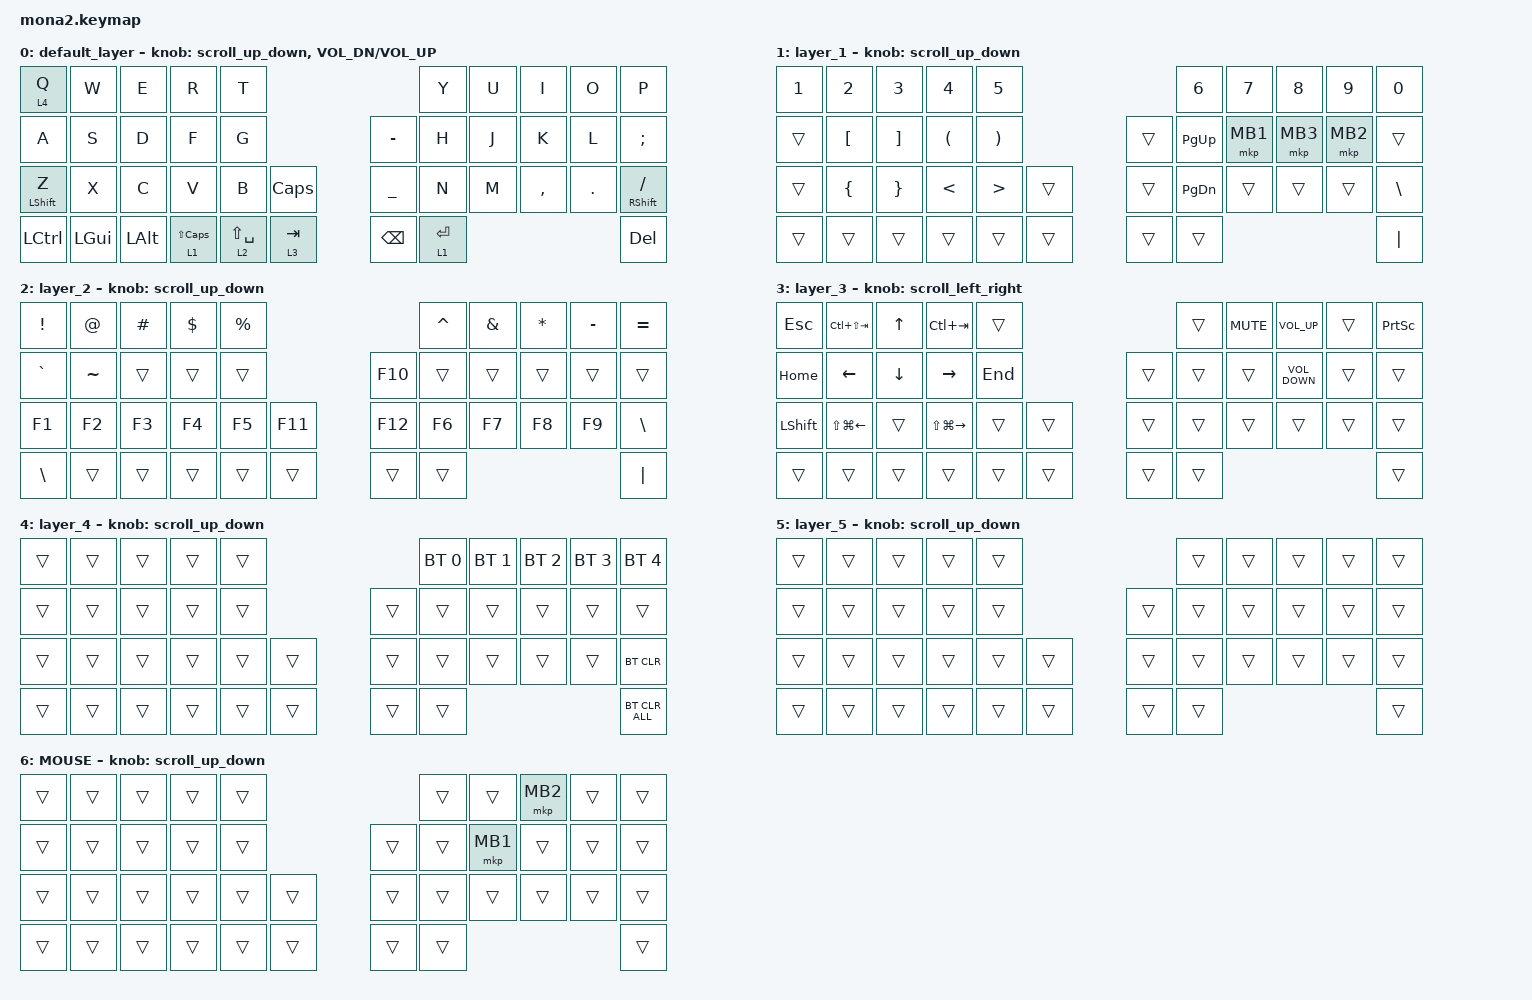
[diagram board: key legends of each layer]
#include <input/processors.dtsi>
#include <dt-bindings/zmk/input_transform.h>
#include <zephyr/dt-bindings/input/input-event-codes.h>
#include <behaviors.dtsi>
#include <dt-bindings/zmk/bt.h>
#include <dt-bindings/zmk/keys.h>
#include <dt-bindings/zmk/pointing.h>

#define ZMK_POINTING_DEFAULT_SCRL_VAL 100
#define MOUSE 6

//define SCROLL 3

&mt {
    flavor = "balanced";
    tapping-term-ms = <180>;
    quick-tap-ms = <100>;
};

&lt {
    flavor = "balanced";
    tapping-term-ms = <300>;
    quick-tap-ms = <100>;
};

&mkp_input_listener { input-processors = <&zip_temp_layer 6 250>; };

/ {
    combos {
        compatible = "zmk,combos";

        equal {
            bindings = <&kp EQUAL>;
            key-positions = <7 8>;
        };

        plus {
            bindings = <&kp PLUS>;
            key-positions = <6 7>;
        };

        single {
            bindings = <&kp SQT>;
            key-positions = <18 19>;
        };

        double {
            bindings = <&kp DOUBLE_QUOTES>;
            key-positions = <17 18>;
        };
    };

    macros {
        to_layer_0: to_layer_0 {
            compatible = "zmk,behavior-macro-one-param";
            #binding-cells = <1>;
            bindings = <&to 0 &macro_param_1to1 &kp MACRO_PLACEHOLDER>;
            label = "TO_LAYER_0";
        };

        exit_AML: exit_AML {
            compatible = "zmk,behavior-macro";
            wait-ms = <0>;
            tap-ms = <0>;
            #binding-cells = <0>;
            bindings = <&tog_off MOUSE>;
            label = "exit_AML";
        };

        kp_exit_AML: kp_exit_AML {
            compatible = "zmk,behavior-macro-one-param";
            wait-ms = <0>;
            tap-ms = <0>;
            #binding-cells = <1>;
            bindings = <&macro_param_1to1 &kp MACRO_PLACEHOLDER &exit_AML>;
            label = "KP_exit_AML";
        };
    };

    behaviors {
        lt_to_layer_0: lt_to_layer_0 {
            compatible = "zmk,behavior-hold-tap";
            label = "LAYER_TAP_TO_0";
            bindings = <&mo>, <&to_layer_0>;

            #binding-cells = <2>;
            tapping-term-ms = <200>;
        };

        scroll_up_down: mouse_wheel_up_down {
            compatible = "zmk,behavior-sensor-rotate";
            #sensor-binding-cells = <0>;
            bindings = <&msc SCRL_UP>, <&msc SCRL_DOWN>;

            tap-ms = <20>;
        };

        scroll_left_right: mouse_wheel_left_right {
            compatible = "zmk,behavior-sensor-rotate";
            #sensor-binding-cells = <0>;
            bindings = <&msc SCRL_LEFT>, <&msc SCRL_RIGHT>;

            tap-ms = <20>;
        };

        tog_off: toggle_layer_off {
            compatible = "zmk,behavior-toggle-layer";
            #binding-cells = <1>;
            display-name = "Toggle Layer Off";
            toggle-mode = "off";
        };

        mt_exit_AML: mt_exit_AML_on_tap {
            compatible = "zmk,behavior-hold-tap";
            label = "MT_exit_AML_ON_TAP";
            bindings = <&kp>, <&kp_exit_AML>;

            #binding-cells = <2>;
            tapping-term-ms = <200>;
            flavor = "balanced";
            quick-tap-ms = <200>;
        };
    };

    keymap {
        compatible = "zmk,keymap";

        default_layer {
            bindings = <
&lt 4 Q                &kp W         &kp E         &kp R               &kp T                                            &kp Y        &kp U  &kp I      &kp O       &kp P
&kp A                  &kp S         &kp D         &kp F               &kp G                            &kp MINUS       &kp H        &kp J  &kp K      &kp L       &kp SEMICOLON
&mt_exit_AML LSHIFT Z  &kp X         &kp C         &kp V               &kp B            &kp CAPSLOCK    &kp UNDERSCORE  &kp N        &kp M  &kp COMMA  &kp PERIOD  &mt RIGHT_SHIFT SLASH
&kp LEFT_CONTROL       &kp LEFT_GUI  &kp LEFT_ALT  &lt 1 LS(CAPSLOCK)  &lt 2 LS(SPACE)  &lt 3 TAB       &kp BACKSPACE   &lt 1 ENTER                                &kp DELETE
            >;

            sensor-bindings =
                <&scroll_up_down>,
                <&inc_dec_kp C_VOL_DN C_VOL_UP>;
        };

        layer_1 {
            bindings = <
&kp NUMBER_1  &kp NUMBER_2      &kp NUMBER_3       &kp NUMBER_4          &kp NUMBER_5                             &kp NUMBER_6   &kp NUMBER_7  &kp NUMBER_8  &kp NUMBER_9  &kp NUMBER_0
&trans        &kp LEFT_BRACKET  &kp RIGHT_BRACKET  &kp LEFT_PARENTHESIS  &kp RIGHT_PARENTHESIS            &trans  &kp PAGE_UP    &mkp MB1      &mkp MB3      &mkp MB2      &trans
&trans        &kp LEFT_BRACE    &kp RIGHT_BRACE    &kp LESS_THAN         &kp GREATER_THAN       &trans    &trans  &kp PAGE_DOWN  &trans        &trans        &trans        &kp BACKSLASH
&trans        &trans            &trans             &trans                &trans                 &trans    &trans  &trans                                                   &kp PIPE
            >;

            sensor-bindings = <&scroll_up_down>;
        };

        layer_2 {
            bindings = <
&kp EXCLAMATION  &kp AT_SIGN  &kp HASH  &kp DOLLAR  &kp PERCENT                      &kp CARET  &kp AMPERSAND  &kp ASTERISK  &kp MINUS  &kp EQUAL
&kp GRAVE        &kp TILDE    &trans    &trans      &trans                  &kp F10  &trans     &trans         &trans        &trans     &trans
&kp F1           &kp F2       &kp F3    &kp F4      &kp F5       &kp F11    &kp F12  &kp F6     &kp F7         &kp F8        &kp F9     &kp BACKSLASH
&kp BACKSLASH    &trans       &trans    &trans      &trans       &trans     &trans   &trans                                             &kp PIPE
            >;

            sensor-bindings = <&scroll_up_down>;
        };

        layer_3 {
            bindings = <
&kp ESCAPE      &kp LC(LS(TAB))   &kp UP_ARROW    &kp LC(TAB)              &trans                     &trans  &kp C_MUTE  &kp C_VOL_UP       &trans  &kp PRINTSCREEN
&kp HOME        &kp LEFT_ARROW    &kp DOWN_ARROW  &kp RIGHT_ARROW          &kp END            &trans  &trans  &trans      &kp C_VOLUME_DOWN  &trans  &trans
&kp LEFT_SHIFT  &kp LS(LG(LEFT))  &trans          &kp LS(LG(RIGHT_ARROW))  &trans   &trans    &trans  &trans  &trans      &trans             &trans  &trans
&trans          &trans            &trans          &trans                   &trans   &trans    &trans  &trans                                         &trans
            >;

            sensor-bindings = <&scroll_left_right>;
        };

        layer_4 {
            bindings = <
&trans  &trans  &trans  &trans  &trans                    &bt BT_SEL 0  &bt BT_SEL 1  &bt BT_SEL 2  &bt BT_SEL 3  &bt BT_SEL 4
&trans  &trans  &trans  &trans  &trans            &trans  &trans        &trans        &trans        &trans        &trans
&trans  &trans  &trans  &trans  &trans  &trans    &trans  &trans        &trans        &trans        &trans        &bt BT_CLR
&trans  &trans  &trans  &trans  &trans  &trans    &trans  &trans                                                  &bt BT_CLR_ALL
            >;

            sensor-bindings = <&scroll_up_down>;
        };

        layer_5 {
            bindings = <
&trans  &trans  &trans  &trans  &trans                    &trans  &trans  &trans  &trans  &trans
&trans  &trans  &trans  &trans  &trans            &trans  &trans  &trans  &trans  &trans  &trans
&trans  &trans  &trans  &trans  &trans  &trans    &trans  &trans  &trans  &trans  &trans  &trans
&trans  &trans  &trans  &trans  &trans  &trans    &trans  &trans                          &trans
            >;

            sensor-bindings = <&scroll_up_down>;
        };

        MOUSE {
            bindings = <
&trans  &trans  &trans  &trans  &trans                    &trans  &trans    &mkp MB2  &trans  &trans
&trans  &trans  &trans  &trans  &trans            &trans  &trans  &mkp MB1  &trans    &trans  &trans
&trans  &trans  &trans  &trans  &trans  &trans    &trans  &trans  &trans    &trans    &trans  &trans
&trans  &trans  &trans  &trans  &trans  &trans    &trans  &trans                              &trans
            >;

            sensor-bindings = <&scroll_up_down>;
        };
    };
};
